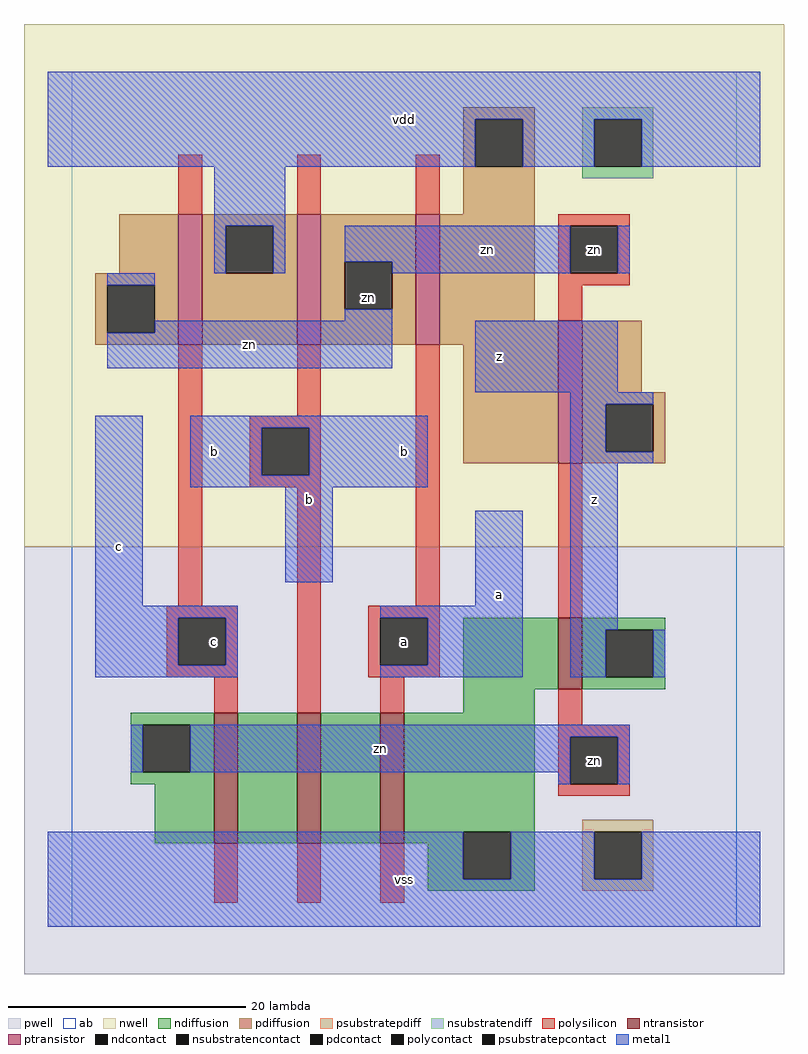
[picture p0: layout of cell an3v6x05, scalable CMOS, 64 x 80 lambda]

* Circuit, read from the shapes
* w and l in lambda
.subckt an3v6x05 a b c vdd vss z zn
M1 n1 c zn vss nfet w=11 l=2
M2 n2 b n1 vss nfet w=11 l=2
M3 vss a n2 vss nfet w=11 l=2
M4 z zn vss vss nfet w=6 l=2
M5 vdd c zn vdd pfet w=11 l=2
M6 zn b vdd vdd pfet w=11 l=2
M7 vdd a zn vdd pfet w=11 l=2
M8 z zn vdd vdd pfet w=12 l=2
.ends

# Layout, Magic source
magic
tech scmos
<< ab >>
rect 0 0 56 72
<< pwell >>
rect -4 -4 60 32
<< nwell >>
rect -4 32 60 76
<< polysilicon >>
rect 9 60 11 65
rect 19 60 21 65
rect 29 60 31 65
rect 41 59 47 60
rect 41 55 42 59
rect 46 55 47 59
rect 41 54 47 55
rect 41 51 43 54
rect 9 27 11 49
rect 19 43 21 49
rect 15 42 21 43
rect 15 38 16 42
rect 20 38 21 42
rect 15 37 21 38
rect 8 26 14 27
rect 8 22 9 26
rect 13 22 14 26
rect 8 21 14 22
rect 12 18 14 21
rect 19 18 21 37
rect 29 27 31 49
rect 25 26 31 27
rect 41 26 43 39
rect 25 22 26 26
rect 30 22 31 26
rect 25 21 31 22
rect 26 18 28 21
rect 41 17 43 20
rect 41 16 47 17
rect 41 12 42 16
rect 46 12 47 16
rect 41 11 47 12
rect 12 2 14 7
rect 19 2 21 7
rect 26 2 28 7
<< ndiffusion >>
rect 33 20 41 26
rect 43 25 50 26
rect 43 21 45 25
rect 49 21 50 25
rect 43 20 50 21
rect 33 18 39 20
rect 5 17 12 18
rect 5 13 6 17
rect 10 13 12 17
rect 5 12 12 13
rect 7 7 12 12
rect 14 7 19 18
rect 21 7 26 18
rect 28 8 39 18
rect 28 7 33 8
rect 30 4 33 7
rect 37 4 39 8
rect 30 3 39 4
<< pdiffusion >>
rect 33 68 39 69
rect 33 64 34 68
rect 38 64 39 68
rect 33 60 39 64
rect 4 55 9 60
rect 2 54 9 55
rect 2 50 3 54
rect 7 50 9 54
rect 2 49 9 50
rect 11 59 19 60
rect 11 55 13 59
rect 17 55 19 59
rect 11 49 19 55
rect 21 56 29 60
rect 21 52 23 56
rect 27 52 29 56
rect 21 49 29 52
rect 31 51 39 60
rect 31 49 41 51
rect 33 39 41 49
rect 43 45 48 51
rect 43 44 50 45
rect 43 40 45 44
rect 49 40 50 44
rect 43 39 50 40
<< metal1 >>
rect -2 68 58 72
rect -2 64 34 68
rect 38 64 44 68
rect 48 64 58 68
rect 12 59 18 64
rect 12 55 13 59
rect 17 55 18 59
rect 23 56 42 59
rect 3 54 7 55
rect 27 55 42 56
rect 46 55 47 59
rect 23 51 27 52
rect 7 50 27 51
rect 3 47 27 50
rect 34 45 46 51
rect 42 44 49 45
rect 2 27 6 43
rect 10 42 30 43
rect 10 38 16 42
rect 20 38 30 42
rect 10 37 30 38
rect 42 40 45 44
rect 42 39 49 40
rect 18 29 22 37
rect 34 27 38 35
rect 2 26 14 27
rect 2 22 9 26
rect 13 22 14 26
rect 2 21 14 22
rect 26 26 38 27
rect 30 22 38 26
rect 26 21 38 22
rect 42 25 46 39
rect 42 21 45 25
rect 49 21 50 25
rect 5 13 6 17
rect 10 16 47 17
rect 10 13 42 16
rect 41 12 42 13
rect 46 12 47 16
rect -2 4 33 8
rect 37 4 44 8
rect 48 4 58 8
rect -2 0 58 4
<< ntransistor >>
rect 41 20 43 26
rect 12 7 14 18
rect 19 7 21 18
rect 26 7 28 18
<< ptransistor >>
rect 9 49 11 60
rect 19 49 21 60
rect 29 49 31 60
rect 41 39 43 51
<< polycontact >>
rect 42 55 46 59
rect 16 38 20 42
rect 9 22 13 26
rect 26 22 30 26
rect 42 12 46 16
<< ndcontact >>
rect 45 21 49 25
rect 6 13 10 17
rect 33 4 37 8
<< pdcontact >>
rect 34 64 38 68
rect 3 50 7 54
rect 13 55 17 59
rect 23 52 27 56
rect 45 40 49 44
<< psubstratepcontact >>
rect 44 4 48 8
<< nsubstratencontact >>
rect 44 64 48 68
<< psubstratepdiff >>
rect 43 8 49 9
rect 43 4 44 8
rect 48 4 49 8
rect 43 3 49 4
<< nsubstratendiff >>
rect 43 68 49 69
rect 43 64 44 68
rect 48 64 49 68
rect 43 63 49 64
<< labels >>
rlabel polycontact 44 14 44 14 6 zn
rlabel polycontact 44 57 44 57 6 zn
rlabel metal1 4 32 4 32 6 c
rlabel polycontact 12 24 12 24 6 c
rlabel metal1 20 36 20 36 6 b
rlabel metal1 12 40 12 40 6 b
rlabel metal1 15 49 15 49 6 zn
rlabel pdcontact 25 53 25 53 6 zn
rlabel metal1 28 4 28 4 6 vss
rlabel polycontact 28 24 28 24 6 a
rlabel metal1 36 28 36 28 6 a
rlabel metal1 28 40 28 40 6 b
rlabel metal1 36 48 36 48 6 z
rlabel metal1 28 68 28 68 6 vdd
rlabel polycontact 44 14 44 14 6 zn
rlabel metal1 26 15 26 15 6 zn
rlabel metal1 44 36 44 36 6 z
rlabel metal1 35 57 35 57 6 zn
<< end >>
